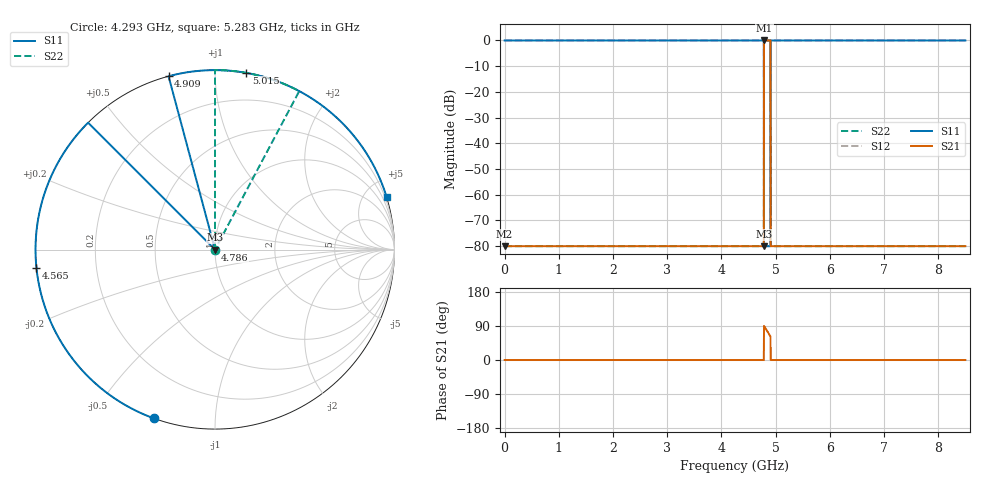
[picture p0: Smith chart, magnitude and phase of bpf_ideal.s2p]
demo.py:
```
"""
Example code used in the SCPI/Python example video.
November 2023
"""


import skrf
import numpy as np
import matplotlib.pyplot as plt
import pyvisa
from skrf.media import Coaxial
import sys


#######################################################################################################

"""
CONFIGURATION 
"""
if sys.argv[1] == 'emulated':
    use_emulated_data = True
elif sys.argv[1] == 'vna':
    use_emulated_data = False
else:
    raise Exception("Unrecognised data source!")

memory_channels = {
    'band_pass_filter': 0,
    'attenuator': 1
}


#######################################################################################################


"""
FUNCTIONS FOR INTERACTING WITH PICOVNA 5
"""
def import_data(memory_channel):
    rm = pyvisa.ResourceManager()
    with rm.open_resource("TCPIP::127.0.0.1::5025::SOCKET") as vna:
        vna.read_termination = '\n'
        vna.write_termination = '\n'

        # Configure data to be returned in an ASCII text-based format (default is binary format)
        vna.query('FORMAT ASCII')

        # import data
        s11_re = np.array(vna.query_ascii_values(f"CALC:DATA:MEM{memory_channel} S11,REAL"))
        s11_im = np.array(vna.query_ascii_values(f"CALC:DATA:MEM{memory_channel} S11,IMAG"))
        s21_re = np.array(vna.query_ascii_values(f"CALC:DATA:MEM{memory_channel} S21,REAL"))
        s21_im = np.array(vna.query_ascii_values(f"CALC:DATA:MEM{memory_channel} S21,IMAG"))
        s12_re = np.array(vna.query_ascii_values(f"CALC:DATA:MEM{memory_channel} S12,REAL"))
        s12_im = np.array(vna.query_ascii_values(f"CALC:DATA:MEM{memory_channel} S12,IMAG"))
        s22_re = np.array(vna.query_ascii_values(f"CALC:DATA:MEM{memory_channel} S22,REAL"))
        s22_im = np.array(vna.query_ascii_values(f"CALC:DATA:MEM{memory_channel} S22,IMAG"))

        s11 = s11_re + 1j * s11_im
        s12 = s12_re + 1j * s12_im
        s21 = s21_re + 1j * s21_im
        s22 = s22_re + 1j * s22_im

        # import frequencies of frequency sweep
        start_freq = float(vna.query("SENSE:FREQUENCY:START?").split(' ')[0])
        stop_freq = float(vna.query("SENSE:FREQUENCY:STOP?").split(' ')[0])
        num_points = int(vna.query("SENSE:SWEEP:POINTS?").split(' ')[0])
        freqs = skrf.Frequency(start=start_freq, stop=stop_freq, npoints=num_points, unit='MHz')

        # construct the s matrix
        s = np.zeros((num_points, 2, 2), dtype=complex)
        s[:, 0, 0] = s11
        s[:, 0, 1] = s12
        s[:, 1, 0] = s21
        s[:, 1, 1] = s22

        # constructing Network object
        return skrf.Network(frequency=freqs, s=s)


#######################################################################################################


"""
DATA IMPORT
"""
# import attenuator and bandpass filter data
if use_emulated_data:
    attenuator = skrf.Network('atten_ideal.s2p')
    band_pass_filter = skrf.Network('bpf_ideal.s2p')
else:
    attenuator = import_data(memory_channels['attenuator'])
    band_pass_filter = import_data(memory_channels['band_pass_filter'])

                             

#######################################################################################################


"""
RUN CIRCUIT EMULATION
"""

# emulate 50 mm of coaxial cable (RG-58)
coax = Coaxial(frequency=band_pass_filter.frequency, Dint = 0.91e-3, Dout = 2.95e-3, epsilon_r = 2.3, z0_port = 50)
coax_line = coax.line(50,'mm',z0=50)

# simulate attenuator -- coaxial -- bandpass filter
network_sim = attenuator ** coax_line ** band_pass_filter

if use_emulated_data:
    network_sim.name = 'Emulated circuit, using ideal data'
else:
    network_sim.name = 'Emulated circuit, using real data'




"""
PLOT OUTPUT
"""
plt.rcParams.update({'font.size': 4})
fig, axs = plt.subplots(2, 2)

network_sim.plot_s_db(m=0,n=0, ax=axs[0][0], y_label='LogMag /dB')
network_sim.plot_s_deg(m=0,n=0, ax=axs[1][0], y_label='Phase /deg')
network_sim.plot_s_db(m=1,n=0, ax=axs[0][1], y_label='LogMag /dB')
network_sim.plot_s_deg(m=1,n=0, ax=axs[1][1], y_label='Phase /deg')

axs[0][0].set_title('S11')
axs[0][1].set_title('S21')

axs[0][0].set_ylim([-100, 0])
axs[0][1].set_ylim([-100, 0])

plt.savefig('network.png', dpi=220)
```
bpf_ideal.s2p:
# MHz S MA R 50
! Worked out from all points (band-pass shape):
!   2001 points, 300 kHz to 8.5 GHz, reference 50 ohm
!   highest |S21| = 0.00 dB at 4.794 GHz (marker M1); lowest = -80.0 dB at 300 kHz (marker M2)
!   |S21| within 3 dB of the highest: 4.785 GHz to 4.905 GHz (119.3 MHz wide, 2.46 % of centre)
!   lowest |S11| = -80.0 dB at 4.786 GHz (marker M3), VSWR 1.00, Z = 50 + j0 ohm
!   |S11| at or under -10 dB: 4.782 GHz to 4.908 GHz (126.4 MHz wide, 2.61 % of centre)
!   |S22| runs from -80.0 to 0.0 dB; largest |S21 - S12| = 1
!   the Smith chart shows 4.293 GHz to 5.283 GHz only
!   S11 on the Smith chart (normalised r, x): 4.293 GHz: 0.00, -0.70; 4.565 GHz: 0.00, -0.05; 4.786 GHz: 1.00, +0.00; 4.909 GHz: -0.00, +0.77; 5.015 GHz: 0.00, +1.19; 5.283 GHz: 0.00, +6.69
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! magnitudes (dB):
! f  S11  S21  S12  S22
! 300 kHz  0.0  -80.0  0.0  -80.0
! 4.254 GHz  0.0  -80.0  0.0  -80.0
! 4.293 GHz  0.0  -80.0  0.0  -80.0
! 4.565 GHz  0.0  -80.0  0.0  -80.0
! 4.786 GHz  -80.0  0.0  -80.0  0.0
! 4.794 GHz  -80.0  0.0  -80.0  0.0
! 4.862 GHz  -80.0  0.0  -80.0  0.0
! 4.909 GHz  0.0  -80.0  0.0  -80.0
! 5.015 GHz  0.0  -80.0  0.0  -80.0
! 5.283 GHz  0.0  -80.0  0.0  -80.0
! 8.5 GHz  0.0  -80.0  0.0  -80.0
